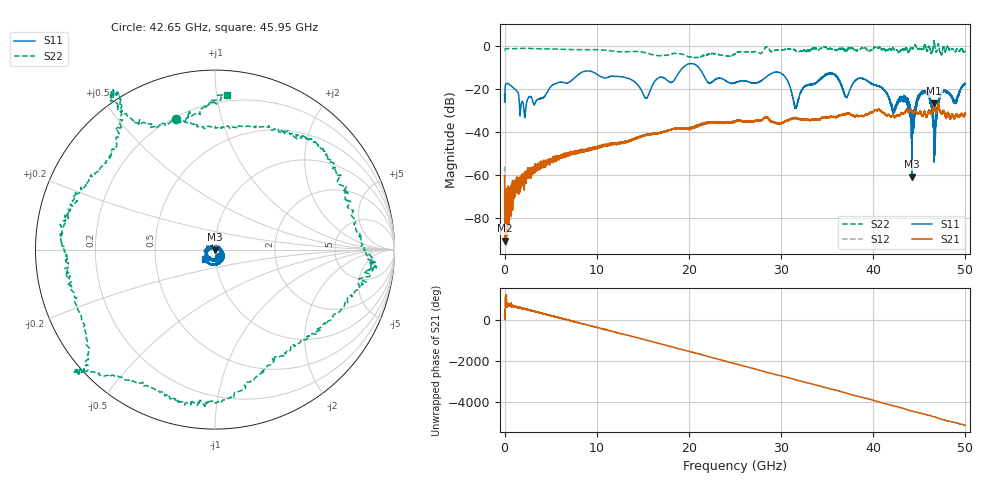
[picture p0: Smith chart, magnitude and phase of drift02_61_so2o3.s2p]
!Created with skrf (http://scikit-rf.org).
# Hz S RI R 50.0
!freq ReS11 ImS11 ReS21 ImS21 ReS12 ImS12 ReS22 ImS22
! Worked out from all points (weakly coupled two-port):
!   10001 points, 300 kHz to 50 GHz, reference 50 ohm
!   highest |S21| = -26.89 dB at 46.62 GHz (marker M1); lowest = -90.8 dB at 50.3 MHz (marker M2)
!   lowest |S11| = -61.0 dB at 44.23 GHz (marker M3), VSWR 1.00, Z = 50.1 + j0.0141 ohm
!   |S11| at or under -10 dB: start of sweep to 19.42 GHz; 21 GHz to end of sweep
!   |S22| runs from -5.7 to 2.4 dB; largest |S21 - S12| = 0.0036
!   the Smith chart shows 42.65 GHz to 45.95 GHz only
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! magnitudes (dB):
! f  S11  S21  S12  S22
! 300 kHz  -22.7  -60.5  -56.3  -2.1
! 50.3 MHz  -20.3  -90.8  -77.9  -1.6
! 260.3 MHz  -17.6  -86.2  -76.0  -1.4
! 2.19 GHz  -33.5  -61.6  -62.5  -1.3
! 8.335 GHz  -12.5  -49.2  -49.3  -1.9
! 15.34 GHz  -24.5  -41.7  -41.6  -3.3
! 16.67 GHz  -15.1  -40.9  -40.8  -4.7
! 20.3 GHz  -8.4  -38.0  -38.0  -5.5
! 25 GHz  -17.4  -35.3  -35.5  -3.9
! 29.83 GHz  -12.6  -36.5  -36.5  -2.0
! 31.59 GHz  -28.9  -33.8  -34.0  -2.4
! 33.34 GHz  -18.1  -34.5  -34.4  -1.6
! 35.6 GHz  -13.1  -33.2  -33.2  -1.6
! 37.1 GHz  -24.2  -31.8  -31.6  -2.3
! 38.75 GHz  -15.2  -32.7  -32.6  -1.0
! 41.67 GHz  -24.0  -32.2  -32.2  -1.9
! 43.54 GHz  -24.2  -30.3  -30.1  -0.9
! 44.23 GHz  -61.0  -31.1  -30.9  -1.3
! 45.67 GHz  -21.2  -31.8  -32.1  -0.4
! 46.62 GHz  -45.2  -26.9  -26.8  2.1
! 47.48 GHz  -21.9  -31.2  -31.6  -3.3
! 50 GHz  -17.8  -31.6  -31.1  -2.6
